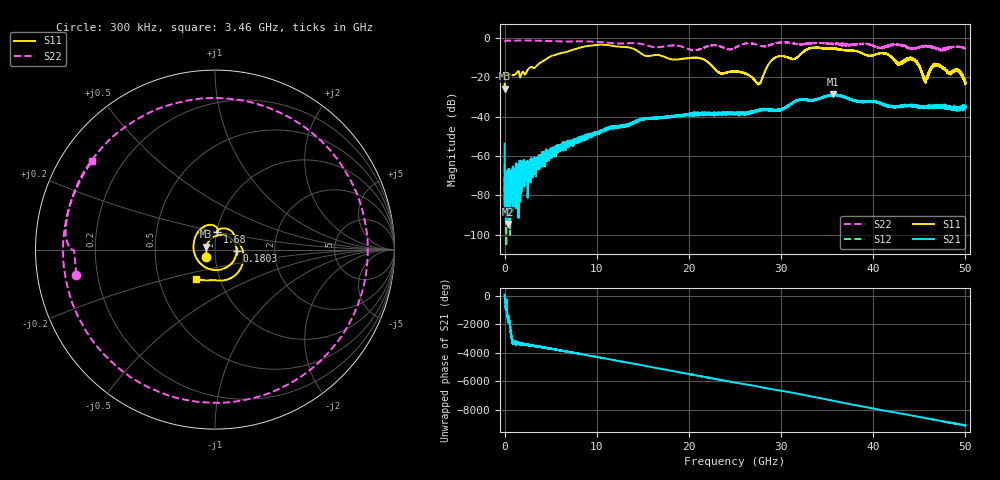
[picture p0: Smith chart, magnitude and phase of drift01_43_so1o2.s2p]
!Created with skrf (http://scikit-rf.org).
# Hz S RI R 50.0
!freq ReS11 ImS11 ReS21 ImS21 ReS12 ImS12 ReS22 ImS22
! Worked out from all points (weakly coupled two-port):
!   10001 points, 300 kHz to 50 GHz, reference 50 ohm
!   highest |S21| = -28.75 dB at 35.61 GHz (marker M1); lowest = -94.5 dB at 385.3 MHz (marker M2)
!   lowest |S11| = -25.8 dB at 5.3 MHz (marker M3), VSWR 1.11, Z = 45.3 + j1.4 ohm
!   |S11| at or under -10 dB: start of sweep to 4.768 GHz; 17.5 GHz to 29.4 GHz (11.89 GHz wide, 50.7 % of centre); 43.99 GHz to end of sweep (the widest 3 of 13)
!   |S22| runs from -6.6 to -1.4 dB; largest |S21 - S12| = 0.0036
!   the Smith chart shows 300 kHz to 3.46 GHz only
!   S11 on the Smith chart (normalised r, x): 300 kHz: 0.90, -0.08; 180.3 MHz: 1.27, -0.01; 1.68 GHz: 1.01, +0.20; 3.46 GHz: 0.77, -0.26
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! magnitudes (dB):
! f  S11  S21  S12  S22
! 300 kHz  -23.8  -53.8  -64.7  -2.1
! 5.3 MHz  -25.8  -70.0  -89.2  -2.1
! 180.3 MHz  -18.4  -75.0  -105.7  -1.4
! 385.3 MHz  -18.5  -94.5  -89.1  -1.4
! 1.68 GHz  -20.2  -73.0  -70.3  -1.4
! 3.46 GHz  -14.3  -62.0  -64.5  -1.5
! 8.335 GHz  -4.8  -51.8  -51.2  -1.8
! 16.67 GHz  -8.7  -40.7  -40.7  -4.8
! 21.16 GHz  -10.3  -38.8  -38.2  -5.9
! 25 GHz  -17.1  -38.1  -38.5  -5.1
! 27.59 GHz  -23.7  -36.7  -36.8  -3.9
! 29.28 GHz  -10.3  -36.9  -36.6  -2.9
! 31.45 GHz  -10.7  -32.4  -32.4  -3.0
! 33.34 GHz  -5.1  -31.6  -31.5  -2.7
! 35.61 GHz  -5.4  -28.7  -29.0  -2.9
! 41.67 GHz  -8.8  -34.5  -34.9  -4.3
! 42.74 GHz  -12.7  -35.0  -35.0  -3.3
! 44.43 GHz  -11.3  -34.8  -34.5  -5.2
! 45.64 GHz  -20.6  -35.2  -35.2  -4.3
! 46.93 GHz  -13.7  -34.6  -34.2  -5.4
! 49.25 GHz  -16.8  -36.7  -35.9  -4.7
! 50 GHz  -22.7  -34.5  -35.5  -5.4
